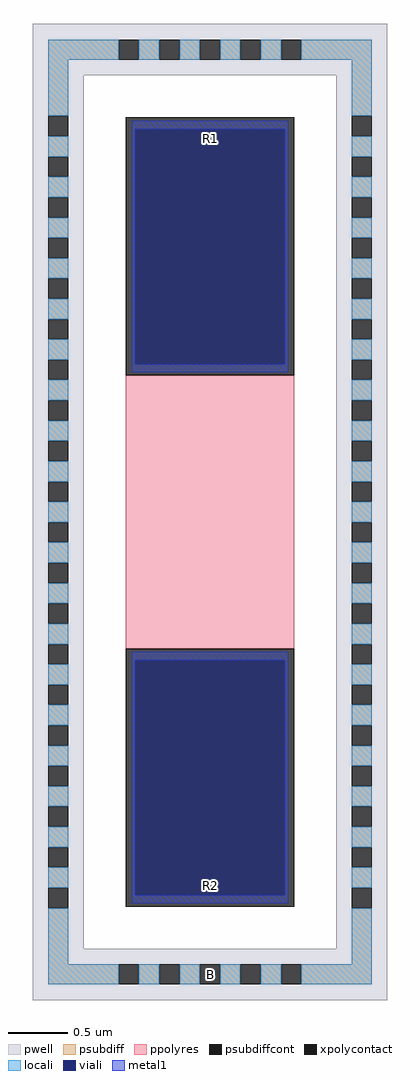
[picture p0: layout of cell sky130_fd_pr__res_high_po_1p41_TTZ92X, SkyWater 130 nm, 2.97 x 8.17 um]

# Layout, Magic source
magic
tech sky130A
magscale 1 2
<< pwell >>
rect -297 731 297 817
rect -297 -731 -211 731
rect 211 -731 297 731
rect -297 -817 297 -731
<< psubdiff >>
rect -271 757 -153 791
rect -119 757 -85 791
rect -51 757 -17 791
rect 17 757 51 791
rect 85 757 119 791
rect 153 757 271 791
rect -271 663 -237 757
rect 237 663 271 757
rect -271 595 -237 629
rect -271 527 -237 561
rect -271 459 -237 493
rect -271 391 -237 425
rect -271 323 -237 357
rect -271 255 -237 289
rect -271 187 -237 221
rect -271 119 -237 153
rect -271 51 -237 85
rect -271 -17 -237 17
rect -271 -85 -237 -51
rect -271 -153 -237 -119
rect -271 -221 -237 -187
rect -271 -289 -237 -255
rect -271 -357 -237 -323
rect -271 -425 -237 -391
rect -271 -493 -237 -459
rect -271 -561 -237 -527
rect -271 -629 -237 -595
rect 237 595 271 629
rect 237 527 271 561
rect 237 459 271 493
rect 237 391 271 425
rect 237 323 271 357
rect 237 255 271 289
rect 237 187 271 221
rect 237 119 271 153
rect 237 51 271 85
rect 237 -17 271 17
rect 237 -85 271 -51
rect 237 -153 271 -119
rect 237 -221 271 -187
rect 237 -289 271 -255
rect 237 -357 271 -323
rect 237 -425 271 -391
rect 237 -493 271 -459
rect 237 -561 271 -527
rect 237 -629 271 -595
rect -271 -757 -237 -663
rect 237 -757 271 -663
rect -271 -791 -153 -757
rect -119 -791 -85 -757
rect -51 -791 -17 -757
rect 17 -791 51 -757
rect 85 -791 119 -757
rect 153 -791 271 -757
<< psubdiffcont >>
rect -153 757 -119 791
rect -85 757 -51 791
rect -17 757 17 791
rect 51 757 85 791
rect 119 757 153 791
rect -271 629 -237 663
rect -271 561 -237 595
rect -271 493 -237 527
rect -271 425 -237 459
rect -271 357 -237 391
rect -271 289 -237 323
rect -271 221 -237 255
rect -271 153 -237 187
rect -271 85 -237 119
rect -271 17 -237 51
rect -271 -51 -237 -17
rect -271 -119 -237 -85
rect -271 -187 -237 -153
rect -271 -255 -237 -221
rect -271 -323 -237 -289
rect -271 -391 -237 -357
rect -271 -459 -237 -425
rect -271 -527 -237 -493
rect -271 -595 -237 -561
rect -271 -663 -237 -629
rect 237 629 271 663
rect 237 561 271 595
rect 237 493 271 527
rect 237 425 271 459
rect 237 357 271 391
rect 237 289 271 323
rect 237 221 271 255
rect 237 153 271 187
rect 237 85 271 119
rect 237 17 271 51
rect 237 -51 271 -17
rect 237 -119 271 -85
rect 237 -187 271 -153
rect 237 -255 271 -221
rect 237 -323 271 -289
rect 237 -391 271 -357
rect 237 -459 271 -425
rect 237 -527 271 -493
rect 237 -595 271 -561
rect 237 -663 271 -629
rect -153 -791 -119 -757
rect -85 -791 -51 -757
rect -17 -791 17 -757
rect 51 -791 85 -757
rect 119 -791 153 -757
<< xpolycontact >>
rect -141 229 141 661
rect -141 -661 141 -229
<< ppolyres >>
rect -141 -229 141 229
<< locali >>
rect -271 757 -153 791
rect -119 757 -85 791
rect -51 757 -17 791
rect 17 757 51 791
rect 85 757 119 791
rect 153 757 271 791
rect -271 663 -237 757
rect 237 663 271 757
rect -271 595 -237 629
rect -271 527 -237 561
rect -271 459 -237 493
rect -271 391 -237 425
rect -271 323 -237 357
rect -271 255 -237 289
rect 237 595 271 629
rect 237 527 271 561
rect 237 459 271 493
rect 237 391 271 425
rect 237 323 271 357
rect 237 255 271 289
rect -271 187 -237 221
rect -271 119 -237 153
rect -271 51 -237 85
rect -271 -17 -237 17
rect -271 -85 -237 -51
rect -271 -153 -237 -119
rect -271 -221 -237 -187
rect 237 187 271 221
rect 237 119 271 153
rect 237 51 271 85
rect 237 -17 271 17
rect 237 -85 271 -51
rect 237 -153 271 -119
rect 237 -221 271 -187
rect -271 -289 -237 -255
rect -271 -357 -237 -323
rect -271 -425 -237 -391
rect -271 -493 -237 -459
rect -271 -561 -237 -527
rect -271 -629 -237 -595
rect 237 -289 271 -255
rect 237 -357 271 -323
rect 237 -425 271 -391
rect 237 -493 271 -459
rect 237 -561 271 -527
rect 237 -629 271 -595
rect -271 -757 -237 -663
rect 237 -757 271 -663
rect -271 -791 -153 -757
rect -119 -791 -85 -757
rect -51 -791 -17 -757
rect 17 -791 51 -757
rect 85 -791 119 -757
rect 153 -791 271 -757
<< viali >>
rect -125 247 125 641
rect -125 -642 125 -248
<< metal1 >>
rect -131 641 131 655
rect -131 247 -125 641
rect 125 247 131 641
rect -131 234 131 247
rect -131 -248 131 -234
rect -131 -642 -125 -248
rect 125 -642 131 -248
rect -131 -655 131 -642
<< labels >>
rlabel locali s 0 -774 0 -774 4 B
rlabel locali s 0 626 0 626 4 R1
rlabel locali s 0 -626 0 -626 4 R2
<< properties >>
string FIXED_BBOX -254 -774 254 774
<< end >>
